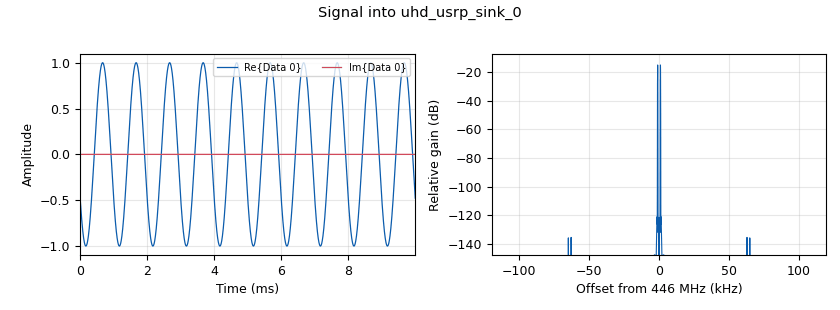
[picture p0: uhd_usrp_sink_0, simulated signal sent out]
<?xml version='1.0' encoding='utf-8'?>
<?grc format='1' created='3.7.9'?>
<flow_graph>
<block>
<key>options</key>
<param><key>id</key><value>top_block</value></param>
<param><key>category</key><value>Custom</value></param>
<param><key>generate_options</key><value>qt_gui</value></param>
</block>
<block>
<key>variable</key>
<param><key>id</key><value>fc</value></param>
<param><key>value</key><value>446000000</value></param>
</block>
<block>
<key>variable</key>
<param><key>id</key><value>samp_rate</value></param>
<param><key>value</key><value>24000</value></param>
</block>
<block>
<key>variable</key>
<param><key>id</key><value>tcola_m</value></param>
<param><key>value</key><value>10</value></param>
</block>
<block>
<key>variable</key>
<param><key>id</key><value>tcola_r</value></param>
<param><key>value</key><value>1</value></param>
</block>
<block>
<key>variable_qtgui_range</key>
<param><key>id</key><value>usrp_samp_rate</value></param>
<param><key>value</key><value>samp_rate*tcola_m/tcola_r</value></param>
<param><key>label</key><value>USRP Sampling Rate</value></param>
<param><key>orient</key><value>Qt.Horizontal</value></param>
<param><key>start</key><value>200000</value></param>
<param><key>step</key><value>10000</value></param>
<param><key>stop</key><value>5000000</value></param>
</block>
<block>
<key>analog_const_source_x</key>
<param><key>id</key><value>analog_const_source_x_0</value></param>
<param><key>const</key><value>0</value></param>
<param><key>type</key><value>float</value></param>
</block>
<block>
<key>analog_sig_source_x</key>
<param><key>id</key><value>analog_sig_source_x_2</value></param>
<param><key>amp</key><value>1</value></param>
<param><key>freq</key><value>500</value></param>
<param><key>offset</key><value>0</value></param>
<param><key>type</key><value>float</value></param>
<param><key>samp_rate</key><value>usrp_samp_rate/2</value></param>
<param><key>waveform</key><value>analog.GR_COS_WAVE</value></param>
</block>
<block>
<key>audio_sink</key>
<param><key>id</key><value>audio_sink_1_1</value></param>
<param><key>_enabled</key><value>0</value></param>
<param><key>samp_rate</key><value>samp_rate</value></param>
</block>
<block>
<key>blocks_complex_to_float</key>
<param><key>id</key><value>blocks_complex_to_float_0</value></param>
</block>
<block>
<key>blocks_float_to_complex</key>
<param><key>id</key><value>blocks_float_to_complex_0</value></param>
</block>
<block>
<key>qtgui_freq_sink_x</key>
<param><key>id</key><value>qtgui_freq_sink_x_0</value></param>
<param><key>bw</key><value>samp_rate</value></param>
<param><key>fc</key><value>0</value></param>
<param><key>fftsize</key><value>1024</value></param>
<param><key>label2</key><value></value></param>
<param><key>nconnections</key><value>2</value></param>
<param><key>showports</key><value>True</value></param>
<param><key>type</key><value>float</value></param>
<param><key>wintype</key><value>firdes.WIN_BLACKMAN_hARRIS</value></param>
</block>
<block>
<key>tcola_overlap_add</key>
<param><key>id</key><value>tcola_overlap_add_0_0</value></param>
<param><key>_enabled</key><value>2</value></param>
<param><key>hopSize</key><value>tcola_r</value></param>
<param><key>windowSize</key><value>tcola_m</value></param>
<param><key>window</key><value></value></param>
</block>
<block>
<key>tcola_time_compression</key>
<param><key>id</key><value>tcola_time_compression_0_0</value></param>
<param><key>_enabled</key><value>2</value></param>
<param><key>hopSize</key><value>tcola_r</value></param>
<param><key>windowSize</key><value>tcola_m</value></param>
<param><key>window</key><value></value></param>
</block>
<block>
<key>uhd_usrp_sink</key>
<param><key>id</key><value>uhd_usrp_sink_0</value></param>
<param><key>ant0</key><value></value></param>
<param><key>bw0</key><value>samp_rate*tcola_m/tcola_r</value></param>
<param><key>center_freq0</key><value>fc</value></param>
<param><key>norm_gain0</key><value>False</value></param>
<param><key>gain0</key><value>0</value></param>
<param><key>clock_rate</key><value>0.0</value></param>
<param><key>dev_addr</key><value>addr=192.168.10.2</value></param>
<param><key>type</key><value>fc32</value></param>
<param><key>samp_rate</key><value>usrp_samp_rate</value></param>
<param><key>hide_cmd_port</key><value>False</value></param>
<param><key>sync</key><value></value></param>
<param><key>len_tag_name</key><value></value></param>
</block>
<block>
<key>uhd_usrp_source</key>
<param><key>id</key><value>uhd_usrp_source_0</value></param>
<param><key>ant0</key><value></value></param>
<param><key>bw0</key><value>samp_rate*tcola_m/tcola_r</value></param>
<param><key>center_freq0</key><value>fc</value></param>
<param><key>dc_offs_enb0</key><value>""</value></param>
<param><key>iq_imbal_enb0</key><value>""</value></param>
<param><key>norm_gain0</key><value>False</value></param>
<param><key>gain0</key><value>0</value></param>
<param><key>clock_rate</key><value>0.0</value></param>
<param><key>dev_addr</key><value>addr=192.168.10.3</value></param>
<param><key>type</key><value>fc32</value></param>
<param><key>samp_rate</key><value>usrp_samp_rate</value></param>
<param><key>hide_cmd_port</key><value>False</value></param>
<param><key>sync</key><value></value></param>
</block>
<block>
<key>virtual_sink</key>
<param><key>id</key><value>virtual_sink_0</value></param>
<param><key>stream_id</key><value>tc_rx</value></param>
</block>
<block>
<key>virtual_sink</key>
<param><key>id</key><value>virtual_sink_1</value></param>
<param><key>stream_id</key><value>tc_tx</value></param>
</block>
<block>
<key>virtual_source</key>
<param><key>id</key><value>virtual_source_0</value></param>
<param><key>stream_id</key><value>tc_tx</value></param>
</block>
<block>
<key>virtual_source</key>
<param><key>id</key><value>virtual_source_0_0</value></param>
<param><key>stream_id</key><value>tc_rx</value></param>
</block>
<connection><source_block_id>analog_const_source_x_0</source_block_id><sink_block_id>blocks_float_to_complex_0</sink_block_id><source_key>0</source_key><sink_key>1</sink_key></connection>
<connection><source_block_id>analog_sig_source_x_2</source_block_id><sink_block_id>qtgui_freq_sink_x_0</sink_block_id><source_key>0</source_key><sink_key>0</sink_key></connection>
<connection><source_block_id>analog_sig_source_x_2</source_block_id><sink_block_id>tcola_time_compression_0_0</sink_block_id><source_key>0</source_key><sink_key>0</sink_key></connection>
<connection><source_block_id>blocks_complex_to_float_0</source_block_id><sink_block_id>tcola_overlap_add_0_0</sink_block_id><source_key>0</source_key><sink_key>0</sink_key></connection>
<connection><source_block_id>blocks_float_to_complex_0</source_block_id><sink_block_id>virtual_sink_1</sink_block_id><source_key>0</source_key><sink_key>0</sink_key></connection>
<connection><source_block_id>tcola_overlap_add_0_0</source_block_id><sink_block_id>audio_sink_1_1</sink_block_id><source_key>0</source_key><sink_key>0</sink_key></connection>
<connection><source_block_id>tcola_overlap_add_0_0</source_block_id><sink_block_id>qtgui_freq_sink_x_0</sink_block_id><source_key>0</source_key><sink_key>1</sink_key></connection>
<connection><source_block_id>tcola_time_compression_0_0</source_block_id><sink_block_id>blocks_float_to_complex_0</sink_block_id><source_key>0</source_key><sink_key>0</sink_key></connection>
<connection><source_block_id>uhd_usrp_source_0</source_block_id><sink_block_id>virtual_sink_0</sink_block_id><source_key>0</source_key><sink_key>0</sink_key></connection>
<connection><source_block_id>virtual_source_0</source_block_id><sink_block_id>uhd_usrp_sink_0</sink_block_id><source_key>0</source_key><sink_key>0</sink_key></connection>
<connection><source_block_id>virtual_source_0_0</source_block_id><sink_block_id>blocks_complex_to_float_0</sink_block_id><source_key>0</source_key><sink_key>0</sink_key></connection>
</flow_graph>
